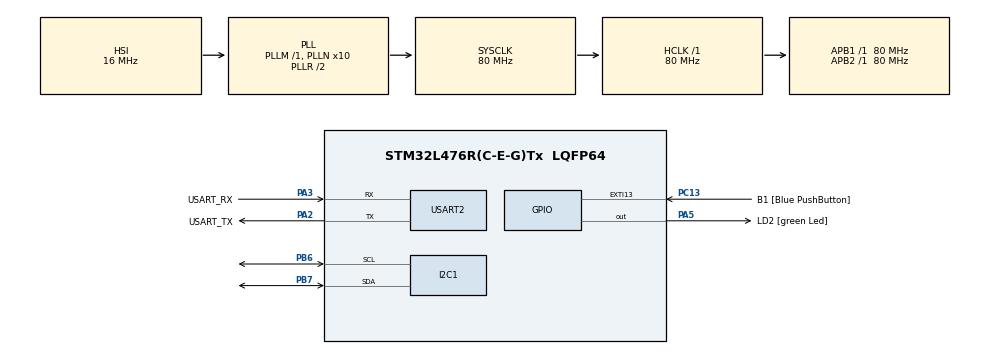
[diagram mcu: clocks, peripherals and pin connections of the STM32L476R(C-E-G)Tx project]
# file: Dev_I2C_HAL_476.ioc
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I2C1.Analog_Filter=I2C_ANALOGFILTER_DISABLE
I2C1.Timing=0x10909EEE
Mcu.Family=STM32L4
Mcu.Name=STM32L476R(C-E-G)Tx
Mcu.Package=LQFP64
NVIC.I2C1_ER_IRQn=true\:0\:0\:false\:false\:true\:true\:true
NVIC.PriorityGroup=NVIC_PRIORITYGROUP_4
PA13\ (JTMS-SWDIO).GPIO_Label=TMS
PA13\ (JTMS-SWDIO).Mode=Serial_Wire
PA13\ (JTMS-SWDIO).Signal=SYS_JTMS-SWDIO
PA14\ (JTCK-SWCLK).GPIO_Label=TCK
PA14\ (JTCK-SWCLK).Mode=Serial_Wire
PA14\ (JTCK-SWCLK).Signal=SYS_JTCK-SWCLK
PA2.GPIO_Label=USART_TX
PA2.GPIO_Mode=GPIO_MODE_AF_PP
PA2.GPIO_PuPd=GPIO_NOPULL
PA2.GPIO_Speed=GPIO_SPEED_FREQ_VERY_HIGH
PA2.Mode=Asynchronous
PA2.Signal=USART2_TX
PA3.GPIO_Label=USART_RX
PA3.GPIO_Mode=GPIO_MODE_AF_PP
PA3.GPIO_PuPd=GPIO_NOPULL
PA3.GPIO_Speed=GPIO_SPEED_FREQ_VERY_HIGH
PA3.Mode=Asynchronous
PA3.Signal=USART2_RX
PA5.GPIO_Label=LD2 [green Led]
PA5.GPIO_ModeDefaultOutputPP=GPIO_MODE_OUTPUT_PP
PA5.GPIO_PuPd=GPIO_NOPULL
PA5.GPIO_Speed=GPIO_SPEED_FREQ_LOW
PA5.Signal=GPIO_Output
PB3\ (JTDO-TRACESWO).GPIO_Label=SWO
PB3\ (JTDO-TRACESWO).Signal=SYS_JTDO-SWO
PB6.Mode=I2C
PB6.Signal=I2C1_SCL
PB7.Mode=I2C
PB7.Signal=I2C1_SDA
PC13.GPIO_Label=B1 [Blue PushButton]
PC13.GPIO_ModeDefaultEXTI=GPIO_MODE_IT_FALLING
PC13.GPIO_PuPd=GPIO_NOPULL
PC13.Signal=GPXTI13
PC14-OSC32_IN\ (PC14).Mode=LSE-External-Oscillator
PC14-OSC32_IN\ (PC14).Signal=RCC_OSC32_IN
PC15-OSC32_OUT\ (PC15).Mode=LSE-External-Oscillator
PC15-OSC32_OUT\ (PC15).Signal=RCC_OSC32_OUT
PH0-OSC_IN\ (PH0).Mode=HSE-External-Clock-Source
PH0-OSC_IN\ (PH0).Signal=RCC_OSC_IN
PH1-OSC_OUT\ (PH1).Signal=RCC_OSC_OUT
ProjectManager.HeapSize=0x200
ProjectManager.StackSize=0x400
ProjectManager.TargetToolchain=STM32CubeIDE
RCC.ADCFreq_Value=64000000
RCC.AHBFreq_Value=80000000
RCC.APB1Freq_Value=80000000
RCC.APB1TimFreq_Value=80000000
RCC.APB2Freq_Value=80000000
RCC.APB2TimFreq_Value=80000000
RCC.CortexFreq_Value=80000000
RCC.HCLKFreq_Value=80000000
RCC.HSE_VALUE=8000000
RCC.HSI_VALUE=16000000
RCC.MSI_VALUE=4000000
RCC.PLLN=10
RCC.PLLSourceVirtual=RCC_PLLSOURCE_HSI
RCC.PREFETCH_ENABLE=1
RCC.SYSCLKFreq_VALUE=80000000
RCC.SYSCLKSource=RCC_SYSCLKSOURCE_PLLCLK
RCC.USBFreq_Value=64000000
RCC.VCOOutputFreq_Value=160000000
USART2.VirtualMode-Asynchronous=VM_ASYNC
board=NUCLEO-L476RG

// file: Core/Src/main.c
/* USER CODE BEGIN Header */
/**
  ******************************************************************************
  * @file           : main.c
  * @brief          : Main program body
  ******************************************************************************
  * @attention
  *
  * <h2><center>&copy; Copyright (c) 2021 STMicroelectronics.
  * All rights reserved.</center></h2>
  *
  * This software component is licensed by ST under BSD 3-Clause license,
  * the "License"; You may not use this file except in compliance with the
  * License. You may obtain a copy of the License at:
  *                        opensource.org/licenses/BSD-3-Clause
  *
  ******************************************************************************
  */
/* USER CODE END Header */
#include "main.h"

/* USER CODE BEGIN Includes */
#include "Driver_DS1307.h"
#include "Driver_LTC2944.h"
/* USER CODE END Includes */

I2C_HandleTypeDef hi2c1;

UART_HandleTypeDef huart2;

/* USER CODE BEGIN PV */
//************** Var RTC DS1307 *******************************************************
DS1307_Time_Typedef UserTimeSet;

//************** Var Gauge LTC2944 *******************************************************
LTC2944_Conf_Typedef UserLTC2944Conf;
LTC2944_AnalogVal_Typedef LTC2944AnalogStruct;
float Q;

/* USER CODE END PV */

void SystemClock_Config(void);
static void MX_GPIO_Init(void);
static void MX_USART2_UART_Init(void);
static void MX_I2C1_Init(void);

int main(void)
{

  /* MCU Configuration--------------------------------------------------------*/

  /* Reset of all peripherals, Initializes the Flash interface and the Systick. */
  HAL_Init();

  /* Configure the system clock */
  SystemClock_Config();

  /* Initialize all configured peripherals */
  MX_GPIO_Init();
  MX_USART2_UART_Init();
  MX_I2C1_Init();
  /* USER CODE BEGIN 2 */

  // initialisation de la RTC avec une date complète
  	UserTimeSet.Sec=0;
  	UserTimeSet.Min=13;
  	UserTimeSet.H_12_Not_24=0;
  	UserTimeSet.PM_Not_AM=0; // on s'en moque ici. Utile que si H12_Not_24=1;
  	UserTimeSet.Hour=15;
  	UserTimeSet.Day=4;
  	UserTimeSet.Date=8;
  	UserTimeSet.Month=7;
  	UserTimeSet.Year=21;
  	//DS1307_SetTime(&UserTimeSet);

    // initialisation de la jauge
  	UserLTC2944Conf.ADCmode=Control_ADCMode_Continuous;
  	UserLTC2944Conf.ALCC=Control_ALCCConfigure_Disable;
  	UserLTC2944Conf.PowerDown=Control_PowerDown_EnAnalogPart;
  	LTC2944_Conf(&UserLTC2944Conf);

  	// Set Charge mAh
  	Q=LTC2944_Set_SOC_mAh(17000.0);

  /* USER CODE END 2 */

  /* Infinite loop */
  /* USER CODE BEGIN WHILE */
  while (1)
  {
	 //************** Run RTC read ********************************************************
	// DS1307_GetTime(&UserTimeSet);

	 //************** read SOC ********************************************************
	  Q= LTC2944_Get_SOC_mAh();
	  //************** read Analog ********************************************************
 	  LTC2944_Get_AnalogVal(&LTC2944AnalogStruct);
	 // délai 1000ms
	 HAL_Delay(1000);

    /* USER CODE END WHILE */

  }
}

void SystemClock_Config(void)
{
  RCC_OscInitTypeDef RCC_OscInitStruct = {0};
  RCC_ClkInitTypeDef RCC_ClkInitStruct = {0};
  RCC_PeriphCLKInitTypeDef PeriphClkInit = {0};

  /** Initializes the RCC Oscillators according to the specified parameters
  * in the RCC_OscInitTypeDef structure.
  */
  RCC_OscInitStruct.OscillatorType = RCC_OSCILLATORTYPE_HSI;
  RCC_OscInitStruct.HSIState = RCC_HSI_ON;
  RCC_OscInitStruct.HSICalibrationValue = RCC_HSICALIBRATION_DEFAULT;
  RCC_OscInitStruct.PLL.PLLState = RCC_PLL_ON;
  RCC_OscInitStruct.PLL.PLLSource = RCC_PLLSOURCE_HSI;
  RCC_OscInitStruct.PLL.PLLM = 1;
  RCC_OscInitStruct.PLL.PLLN = 10;
  RCC_OscInitStruct.PLL.PLLP = RCC_PLLP_DIV7;
  RCC_OscInitStruct.PLL.PLLQ = RCC_PLLQ_DIV2;
  RCC_OscInitStruct.PLL.PLLR = RCC_PLLR_DIV2;
  if (HAL_RCC_OscConfig(&RCC_OscInitStruct) != HAL_OK)
  {
    Error_Handler();
  }
  /** Initializes the CPU, AHB and APB buses clocks
  */
  RCC_ClkInitStruct.ClockType = RCC_CLOCKTYPE_HCLK|RCC_CLOCKTYPE_SYSCLK
                              |RCC_CLOCKTYPE_PCLK1|RCC_CLOCKTYPE_PCLK2;
  RCC_ClkInitStruct.SYSCLKSource = RCC_SYSCLKSOURCE_PLLCLK;
  RCC_ClkInitStruct.AHBCLKDivider = RCC_SYSCLK_DIV1;
  RCC_ClkInitStruct.APB1CLKDivider = RCC_HCLK_DIV1;
  RCC_ClkInitStruct.APB2CLKDivider = RCC_HCLK_DIV1;

  if (HAL_RCC_ClockConfig(&RCC_ClkInitStruct, FLASH_LATENCY_4) != HAL_OK)
  {
    Error_Handler();
  }
  PeriphClkInit.PeriphClockSelection = RCC_PERIPHCLK_USART2|RCC_PERIPHCLK_I2C1;
  PeriphClkInit.Usart2ClockSelection = RCC_USART2CLKSOURCE_PCLK1;
  PeriphClkInit.I2c1ClockSelection = RCC_I2C1CLKSOURCE_PCLK1;
  if (HAL_RCCEx_PeriphCLKConfig(&PeriphClkInit) != HAL_OK)
  {
    Error_Handler();
  }
  /** Configure the main internal regulator output voltage
  */
  if (HAL_PWREx_ControlVoltageScaling(PWR_REGULATOR_VOLTAGE_SCALE1) != HAL_OK)
  {
    Error_Handler();
  }
}

static void MX_I2C1_Init(void)
{

  hi2c1.Instance = I2C1;
  hi2c1.Init.Timing = 0x10909EEE;
  hi2c1.Init.OwnAddress1 = 0;
  hi2c1.Init.AddressingMode = I2C_ADDRESSINGMODE_7BIT;
  hi2c1.Init.DualAddressMode = I2C_DUALADDRESS_DISABLE;
  hi2c1.Init.OwnAddress2 = 0;
  hi2c1.Init.OwnAddress2Masks = I2C_OA2_NOMASK;
  hi2c1.Init.GeneralCallMode = I2C_GENERALCALL_DISABLE;
  hi2c1.Init.NoStretchMode = I2C_NOSTRETCH_DISABLE;
  if (HAL_I2C_Init(&hi2c1) != HAL_OK)
  {
    Error_Handler();
  }
  /** Configure Analogue filter
  */
  if (HAL_I2CEx_ConfigAnalogFilter(&hi2c1, I2C_ANALOGFILTER_DISABLE) != HAL_OK)
  {
    Error_Handler();
  }
  /** Configure Digital filter
  */
  if (HAL_I2CEx_ConfigDigitalFilter(&hi2c1, 0) != HAL_OK)
  {
    Error_Handler();
  }

}

static void MX_USART2_UART_Init(void)
{

  huart2.Instance = USART2;
  huart2.Init.BaudRate = 115200;
  huart2.Init.WordLength = UART_WORDLENGTH_8B;
  huart2.Init.StopBits = UART_STOPBITS_1;
  huart2.Init.Parity = UART_PARITY_NONE;
  huart2.Init.Mode = UART_MODE_TX_RX;
  huart2.Init.HwFlowCtl = UART_HWCONTROL_NONE;
  huart2.Init.OverSampling = UART_OVERSAMPLING_16;
  huart2.Init.OneBitSampling = UART_ONE_BIT_SAMPLE_DISABLE;
  huart2.AdvancedInit.AdvFeatureInit = UART_ADVFEATURE_NO_INIT;
  if (HAL_UART_Init(&huart2) != HAL_OK)
  {
    Error_Handler();
  }

}

static void MX_GPIO_Init(void)
{
  GPIO_InitTypeDef GPIO_InitStruct = {0};

  /* GPIO Ports Clock Enable */
  __HAL_RCC_GPIOC_CLK_ENABLE();
  __HAL_RCC_GPIOH_CLK_ENABLE();
  __HAL_RCC_GPIOA_CLK_ENABLE();
  __HAL_RCC_GPIOB_CLK_ENABLE();

  /*Configure GPIO pin Output Level */
  HAL_GPIO_WritePin(LD2_GPIO_Port, LD2_Pin, GPIO_PIN_RESET);

  /*Configure GPIO pin : B1_Pin */
  GPIO_InitStruct.Pin = B1_Pin;
  GPIO_InitStruct.Mode = GPIO_MODE_IT_FALLING;
  GPIO_InitStruct.Pull = GPIO_NOPULL;
  HAL_GPIO_Init(B1_GPIO_Port, &GPIO_InitStruct);

  /*Configure GPIO pin : LD2_Pin */
  GPIO_InitStruct.Pin = LD2_Pin;
  GPIO_InitStruct.Mode = GPIO_MODE_OUTPUT_PP;
  GPIO_InitStruct.Pull = GPIO_NOPULL;
  GPIO_InitStruct.Speed = GPIO_SPEED_FREQ_LOW;
  HAL_GPIO_Init(LD2_GPIO_Port, &GPIO_InitStruct);

}

void Error_Handler(void)
{
  __disable_irq();
  while (1)
  {
  }
}

/************************ (C) COPYRIGHT STMicroelectronics *****END OF FILE****/
